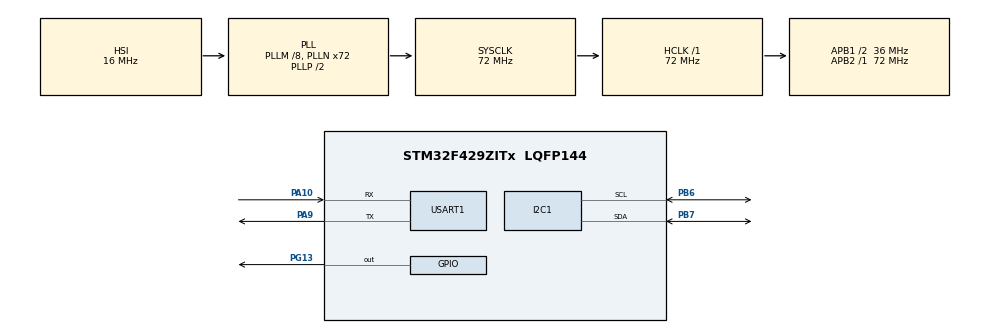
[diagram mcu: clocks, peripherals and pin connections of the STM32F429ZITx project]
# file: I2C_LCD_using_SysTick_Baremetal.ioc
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Mcu.Family=STM32F4
Mcu.Name=STM32F429ZITx
Mcu.Package=LQFP144
NVIC.PriorityGroup=NVIC_PRIORITYGROUP_4
NVIC.USART1_IRQn=true\:0\:0\:false\:false\:true\:true\:true\:true
PA10.Mode=Asynchronous
PA10.Signal=USART1_RX
PA9.Mode=Asynchronous
PA9.Signal=USART1_TX
PB6.Mode=I2C
PB6.Signal=I2C1_SCL
PB7.Mode=I2C
PB7.Signal=I2C1_SDA
PG13.Signal=GPIO_Output
ProjectManager.HeapSize=0x200
ProjectManager.StackSize=0x400
ProjectManager.TargetToolchain=STM32CubeIDE
RCC.48MHZClocksFreq_Value=48000000
RCC.AHBFreq_Value=72000000
RCC.APB1CLKDivider=RCC_HCLK_DIV2
RCC.APB1Freq_Value=36000000
RCC.APB1TimFreq_Value=72000000
RCC.APB2Freq_Value=72000000
RCC.APB2TimFreq_Value=72000000
RCC.CortexFreq_Value=72000000
RCC.HCLKFreq_Value=72000000
RCC.HSE_VALUE=8000000
RCC.HSI_VALUE=16000000
RCC.LSE_VALUE=32768
RCC.PLLM=8
RCC.PLLN=72
RCC.PLLQ=3
RCC.PLLSAIN=50
RCC.SYSCLKFreq_VALUE=72000000
RCC.SYSCLKSource=RCC_SYSCLKSOURCE_PLLCLK
RCC.VCOOutputFreq_Value=144000000
USART1.VirtualMode=VM_ASYNC
board=STM32F429I-DISC1

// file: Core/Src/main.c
/* USER CODE BEGIN Header */
/**
  ******************************************************************************
  * @file           : main.c
  * @brief          : Main program body
  ******************************************************************************
  * @attention
  *
  * Copyright (c) 2026 STMicroelectronics.
  * All rights reserved.
  *
  * This software is licensed under terms that can be found in the LICENSE file
  * in the root directory of this software component.
  * If no LICENSE file comes with this software, it is provided AS-IS.
  *
  ******************************************************************************
  */
/* USER CODE END Header */
#include "main.h"

/* USER CODE BEGIN PTD */
                   //task structure

typedef struct{
	uint32_t period;
	uint32_t priority;
	uint32_t last_run;

	void(*task_func)(void);
}task_t;
/* USER CODE END PTD */

/* USER CODE BEGIN PD */
#define  LCD_ADDR  0X27                                //default I2C address
#define  LCD_RS  (1 << 0)                                  //register select(0000 0001)
//#define  LCD_RW  (1 << 1)
#define   LCD_EN (1 << 2)                                 // LOW pulse trigger the LCD to read data(0000 0010)
#define   LCD_BL (1 << 3)                                //  back light on/off(0000 0100)
/* USER CODE END PD */

I2C_HandleTypeDef hi2c1;

UART_HandleTypeDef huart1;

/* USER CODE BEGIN PV */
volatile uint32_t  SysTick_ms=0;                        // starting from zero
/* USER CODE END PV */

void SystemClock_Config(void);
static void MX_GPIO_Init(void);
static void MX_USART1_UART_Init(void);
static void MX_I2C1_Init(void);

/* USER CODE BEGIN 0 */

void SysTick_Init(void){
	SysTick->LOAD = 15999;                                //16000-1
	SysTick->VAL  = 0;
	SysTick->CTRL=(1<<2)|(1<<1)|(1<<0);
}
                                                       // delay function
void delay_ms(uint32_t ms)
{
    uint32_t start = SysTick_ms;
    while ((SysTick_ms - start) < ms);
}

                    //SCHEDULER

void scheduler_run(task_t *tasks, uint8_t num_tasks){
	 // priority loop
	for(uint8_t pr=0; pr<3 ; pr++)
	{
		for(uint8_t i =0 ; i<num_tasks ; i++ )
		{
			if(tasks[i].priority == pr)
			{
				if(SysTick_ms - tasks[i].last_run>=tasks[i].period){
					tasks[i].last_run = SysTick_ms;
					tasks[i].task_func();
				}
			}
		}
	}
}

void i2c_write(uint8_t addr , uint8_t data){
	I2C1->CR1 |= I2C_CR1_START;                             //  sets start bit in control register
	while(!(I2C1->SR1 & I2C_SR1_SB));                       //  until start bit is set in status register

	I2C1->DR = addr<<1;                                     //   address is shifted by 1 in data register
	while(!(I2C1->SR1 & I2C_SR1_ADDR ));                     // ack for the sent address
	(void)I2C1->SR2;                                           //  void read to clear ADDR flag

	I2C1->DR = data;                                         //  actual data is placed in data register
	while(!(I2C1-> SR1 & I2C_SR1_BTF));                      //  waits for byte data transfer flag

	I2C1->CR1 |= I2C_CR1_STOP;                               //   sets the stop bit
}

////  send Byte to LCD

void lcd_i2c_send(uint8_t data , uint8_t rs){

	uint8_t high = data & 0XF0;
	uint8_t low = (data << 4) & 0XF0;

	i2c_write(LCD_ADDR , high|LCD_BL|rs);
	i2c_write(LCD_ADDR , high|LCD_BL|rs|LCD_EN);                 //  higher nibble
	i2c_write(LCD_ADDR , high|LCD_BL|rs);

	i2c_write(LCD_ADDR , low|LCD_BL|rs);
	i2c_write(LCD_ADDR , low|LCD_BL|rs|LCD_EN);                   // lower nibble
	i2c_write(LCD_ADDR , low|LCD_BL|rs);

}

                      //  LCD  API  ///////

void  lcd_cmd(uint8_t cmd){
	lcd_i2c_send(cmd,0);
}

void  lcd_data(uint8_t data){
	lcd_i2c_send(data,LCD_RS);
}

void lcd_print(char *str){
	while(*str)
		lcd_data(*str++);
}

                                              //    LCD    INIT   //

void lcd_Init(void){
	delay_ms(50);    // wait for vcc to settle

	lcd_cmd(0X33);     //initialize
	lcd_cmd(0X32);     //set to 4 bit mode
	lcd_cmd(0X28);     // 2 line , 5x8 font
	lcd_cmd(0X0C);     // display on , cursor off
	lcd_cmd(0X06);     // cursor increment (entry mode)
	lcd_cmd(0X01);      //clear display

	delay_ms(2);
}

                                        ///UART////

void uart_print(char *str){
	while(*str){
		while(!(USART1->SR & USART_SR_TXE));
		USART1->DR = *str++;
	}
}

                                         /// GPIO LED/////

void LED_Toggle(void){
	GPIOG->ODR ^= GPIO_PIN_13;
}

                                      //  tasks    ///

 //  LCD Display

void task_lcd(void){
	static uint8_t done =0;
	if(!done){
	        lcd_cmd(0x01);
	        lcd_cmd(0x80);
	        lcd_print("STM32 Scheduler");
	        lcd_cmd(0xC0);
	        lcd_print("I2C LCD Ready");

	        done = 1;
	}

}

  //  UART

void task_uart(void){

	uart_print("System Running  \r\n");
}

/////    LED

void task_led(void){
	LED_Toggle();
}

                                ////    task table //////

task_t tasks[]=
{
		{5000,0,0,task_lcd},
		{10000,0,1,task_uart},
		{2000,0,2,task_led}
};

/* USER CODE END 0 */

int main(void)
{

  /* MCU Configuration--------------------------------------------------------*/

  /* Reset of all peripherals, Initializes the Flash interface and the Systick. */
  HAL_Init();

  /* Configure the system clock */
  SystemClock_Config();

  /* Initialize all configured peripherals */
  MX_GPIO_Init();
  MX_USART1_UART_Init();
  MX_I2C1_Init();
  /* USER CODE BEGIN 2 */
  lcd_Init();
  SysTick_Init();
  /* USER CODE END 2 */

  /* Infinite loop */
  while (1)
  {

    /* USER CODE BEGIN 3 */
	  scheduler_run(tasks,3);

  }
  /* USER CODE END 3 */
}

void SystemClock_Config(void)
{
  RCC_OscInitTypeDef RCC_OscInitStruct = {0};
  RCC_ClkInitTypeDef RCC_ClkInitStruct = {0};

  /** Configure the main internal regulator output voltage
  */
  __HAL_RCC_PWR_CLK_ENABLE();
  __HAL_PWR_VOLTAGESCALING_CONFIG(PWR_REGULATOR_VOLTAGE_SCALE3);

  /** Initializes the RCC Oscillators according to the specified parameters
  * in the RCC_OscInitTypeDef structure.
  */
  RCC_OscInitStruct.OscillatorType = RCC_OSCILLATORTYPE_HSI;
  RCC_OscInitStruct.HSIState = RCC_HSI_ON;
  RCC_OscInitStruct.HSICalibrationValue = RCC_HSICALIBRATION_DEFAULT;
  RCC_OscInitStruct.PLL.PLLState = RCC_PLL_ON;
  RCC_OscInitStruct.PLL.PLLSource = RCC_PLLSOURCE_HSI;
  RCC_OscInitStruct.PLL.PLLM = 8;
  RCC_OscInitStruct.PLL.PLLN = 72;
  RCC_OscInitStruct.PLL.PLLP = RCC_PLLP_DIV2;
  RCC_OscInitStruct.PLL.PLLQ = 3;
  if (HAL_RCC_OscConfig(&RCC_OscInitStruct) != HAL_OK)
  {
    Error_Handler();
  }

  /** Initializes the CPU, AHB and APB buses clocks
  */
  RCC_ClkInitStruct.ClockType = RCC_CLOCKTYPE_HCLK|RCC_CLOCKTYPE_SYSCLK
                              |RCC_CLOCKTYPE_PCLK1|RCC_CLOCKTYPE_PCLK2;
  RCC_ClkInitStruct.SYSCLKSource = RCC_SYSCLKSOURCE_PLLCLK;
  RCC_ClkInitStruct.AHBCLKDivider = RCC_SYSCLK_DIV1;
  RCC_ClkInitStruct.APB1CLKDivider = RCC_HCLK_DIV2;
  RCC_ClkInitStruct.APB2CLKDivider = RCC_HCLK_DIV1;

  if (HAL_RCC_ClockConfig(&RCC_ClkInitStruct, FLASH_LATENCY_2) != HAL_OK)
  {
    Error_Handler();
  }
}

static void MX_I2C1_Init(void)
{

  hi2c1.Instance = I2C1;
  hi2c1.Init.ClockSpeed = 100000;
  hi2c1.Init.DutyCycle = I2C_DUTYCYCLE_2;
  hi2c1.Init.OwnAddress1 = 0;
  hi2c1.Init.AddressingMode = I2C_ADDRESSINGMODE_7BIT;
  hi2c1.Init.DualAddressMode = I2C_DUALADDRESS_DISABLE;
  hi2c1.Init.OwnAddress2 = 0;
  hi2c1.Init.GeneralCallMode = I2C_GENERALCALL_DISABLE;
  hi2c1.Init.NoStretchMode = I2C_NOSTRETCH_DISABLE;
  if (HAL_I2C_Init(&hi2c1) != HAL_OK)
  {
    Error_Handler();
  }

  /** Configure Analogue filter
  */
  if (HAL_I2CEx_ConfigAnalogFilter(&hi2c1, I2C_ANALOGFILTER_ENABLE) != HAL_OK)
  {
    Error_Handler();
  }

  /** Configure Digital filter
  */
  if (HAL_I2CEx_ConfigDigitalFilter(&hi2c1, 0) != HAL_OK)
  {
    Error_Handler();
  }

}

static void MX_USART1_UART_Init(void)
{

  huart1.Instance = USART1;
  huart1.Init.BaudRate = 115200;
  huart1.Init.WordLength = UART_WORDLENGTH_8B;
  huart1.Init.StopBits = UART_STOPBITS_1;
  huart1.Init.Parity = UART_PARITY_NONE;
  huart1.Init.Mode = UART_MODE_TX_RX;
  huart1.Init.HwFlowCtl = UART_HWCONTROL_NONE;
  huart1.Init.OverSampling = UART_OVERSAMPLING_16;
  if (HAL_UART_Init(&huart1) != HAL_OK)
  {
    Error_Handler();
  }

}

static void MX_GPIO_Init(void)
{
  GPIO_InitTypeDef GPIO_InitStruct = {0};

  /* GPIO Ports Clock Enable */
  __HAL_RCC_GPIOA_CLK_ENABLE();
  __HAL_RCC_GPIOG_CLK_ENABLE();
  __HAL_RCC_GPIOB_CLK_ENABLE();

  /*Configure GPIO pin Output Level */
  HAL_GPIO_WritePin(GPIOG, GPIO_PIN_13, GPIO_PIN_RESET);

  /*Configure GPIO pin : PG13 */
  GPIO_InitStruct.Pin = GPIO_PIN_13;
  GPIO_InitStruct.Mode = GPIO_MODE_OUTPUT_PP;
  GPIO_InitStruct.Pull = GPIO_NOPULL;
  GPIO_InitStruct.Speed = GPIO_SPEED_FREQ_LOW;
  HAL_GPIO_Init(GPIOG, &GPIO_InitStruct);

}

void Error_Handler(void)
{
  __disable_irq();
  while (1)
  {
  }
}
